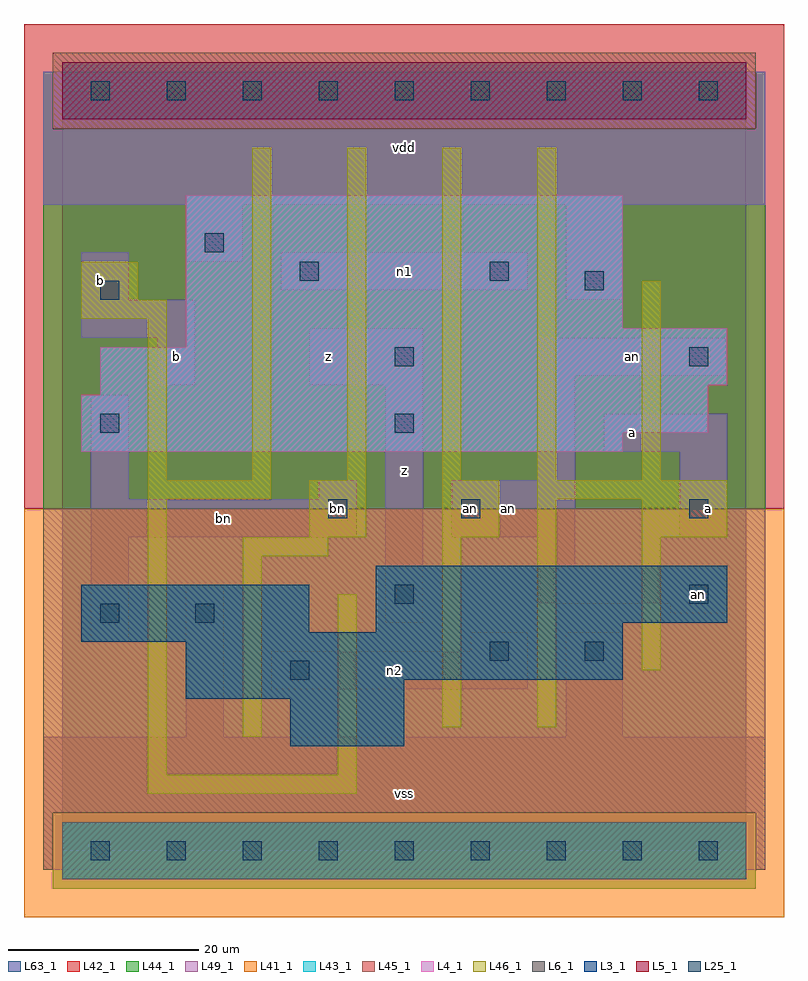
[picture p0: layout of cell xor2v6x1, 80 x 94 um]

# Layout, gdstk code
import gdstk
lib = gdstk.Library(unit=1e-6, precision=1e-09)
def R(c, l, rs):  # rectangles x0, y0, x1, y1
    for r in rs: c.add(gdstk.rectangle(r[:2], r[2:], *l))
def A(c, l, x, y, w, h, nx, ny, dx, dy):  # array of equal rectangles
    R(c, l, [(x+i*dx, y+j*dy, x+i*dx+w, y+j*dy+h) for i in range(nx) for j in range(ny)])
L3_1 = (3, 1)
L4_1 = (4, 1)
L5_1 = (5, 1)
L6_1 = (6, 1)
L25_1 = (25, 1)
L41_1 = (41, 1)
L42_1 = (42, 1)
L43_1 = (43, 1)
L44_1 = (44, 1)
L45_1 = (45, 1)
L46_1 = (46, 1)
L49_1 = (49, 1)
L63_1 = (63, 1)

xor2v6x1 = lib.new_cell('xor2v6x1')
R(xor2v6x1, L3_1, [(24,11,36,16), (13,16,36,18), (13,18,59,22), (2,22,59,23), (2,23,26,28), (33,23,59,24), (33,24,70,30)])
R(xor2v6x1, L4_1, [(2,42,59,44), (2,44,68,48), (4,48,68,49), (4,49,70,53), (13,53,70,55), (13,55,59,69)])
R(xor2v6x1, L5_1, [(0,77,72,83)])
R(xor2v6x1, L6_1, [(0,-3,72,3), (0,-3,72,3)])
A(xor2v6x1, L25_1, 3, -1, 2, 2, 9, 2, 8, 80)
R(xor2v6x1, L25_1, [(24,18,26,20), (45,20,47,22), (55,20,57,22), (4,24,6,26), (14,24,16,26), (35,26,37,28), (66,26,68,28), (28,35,30,37), (42,35,44,37), (66,35,68,37), (4,44,6,46), (35,44,37,46), (35,51,37,53), (66,51,68,53), (4,58,6,60), (55,59,57,61), (25,60,27,62), (45,60,47,62), (15,63,17,65)])
R(xor2v6x1, L41_1, [(-4,-7,76,36)])
R(xor2v6x1, L42_1, [(-4,36,76,87)])
R(xor2v6x1, L43_1, [(0,-3,72,3), (24,11,36,16), (13,16,36,18), (13,18,59,22), (2,22,59,23), (2,23,26,28), (33,23,59,24), (33,24,70,30), (2,42,59,44), (2,44,68,48), (4,48,68,49), (4,49,70,53), (13,53,70,55), (13,55,59,69), (0,77,72,83)])
R(xor2v6x1, L44_1, [(-1,-4,73,4), (-2,36,74,76), (-2,76,-1,82), (73,76,74,82)])
R(xor2v6x1, L45_1, [(-2,-2,-1,4), (73,-2,74,4), (-2,4,74,36), (-1,76,73,84)])
A(xor2v6x1, L46_1, 20, 39, 2, 35, 4, 1, 10, 0)
R(xor2v6x1, L46_1, [(9,6,31,8), (9,8,11,37), (29,8,31,27), (19,12,21,31), (40,13,42,33), (50,13,52,37), (61,19,63,33), (19,31,28,33), (26,33,32,39), (40,33,46,39), (61,33,70,37), (9,37,22,39), (50,37,70,39), (9,39,11,56), (61,39,63,60), (2,56,11,58), (2,58,8,62)])
R(xor2v6x1, L49_1, [(-2,-2,74,12), (13,12,17,28), (53,12,59,23), (22,17,49,21), (43,21,49,23), (3,22,7,33), (34,24,38,49), (64,25,70,26), (50,26,70,30), (50,30,54,33), (3,33,31,37), (41,33,54,39), (65,33,70,42), (3,37,7,48), (27,37,31,39), (50,39,54,50), (57,42,70,46), (10,49,14,54), (26,49,38,55), (50,50,70,54), (2,54,14,58), (2,58,7,63), (53,58,59,68), (23,59,49,63), (13,62,19,68), (-2,68,74,82)])
R(xor2v6x1, L63_1, [(0,0,72,80)])
xor2v6x1.add(gdstk.Label('bn', (29,36), layer=49, texttype=1))
xor2v6x1.add(gdstk.Label('an', (43,36), layer=49, texttype=1))
xor2v6x1.add(gdstk.Label('b', (12,52), layer=49, texttype=1))
xor2v6x1.add(gdstk.Label('b', (4,60), layer=49, texttype=1))
xor2v6x1.add(gdstk.Label('bn', (17,35), layer=49, texttype=1))
xor2v6x1.add(gdstk.Label('z', (28,52), layer=49, texttype=1))
xor2v6x1.add(gdstk.Label('vss', (36,6), layer=49, texttype=1))
xor2v6x1.add(gdstk.Label('n2', (35,19), layer=49, texttype=1))
xor2v6x1.add(gdstk.Label('an', (47,36), layer=49, texttype=1))
xor2v6x1.add(gdstk.Label('z', (36,40), layer=49, texttype=1))
xor2v6x1.add(gdstk.Label('n1', (36,61), layer=49, texttype=1))
xor2v6x1.add(gdstk.Label('vdd', (36,74), layer=49, texttype=1))
xor2v6x1.add(gdstk.Label('an', (67,27), layer=49, texttype=1))
xor2v6x1.add(gdstk.Label('a', (68,36), layer=49, texttype=1))
xor2v6x1.add(gdstk.Label('a', (60,44), layer=49, texttype=1))
xor2v6x1.add(gdstk.Label('an', (60,52), layer=49, texttype=1))

lib.write_gds('xor2v6x1.gds')
